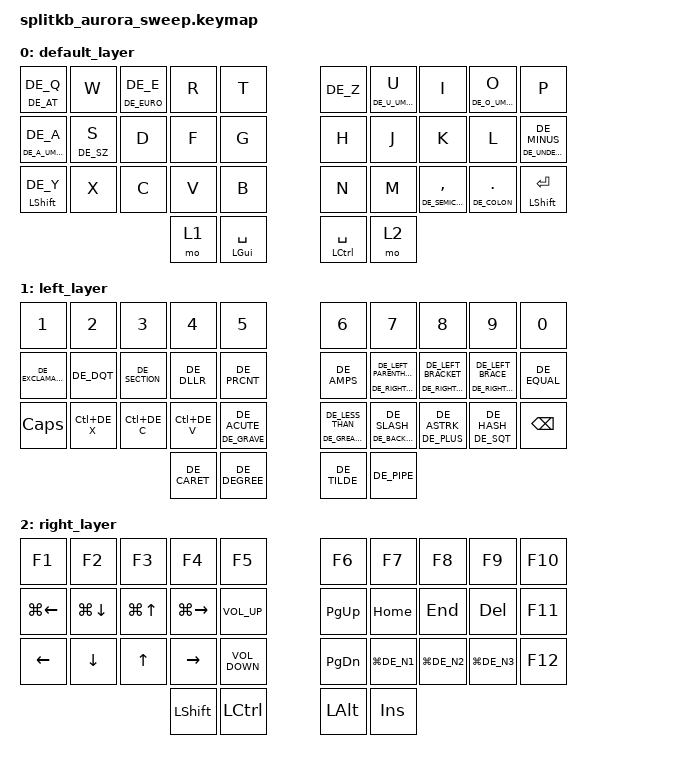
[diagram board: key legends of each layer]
/*
 * Copyright (c) 2022 The ZMK Contributors
 *
 * SPDX-License-Identifier: MIT
 */

#include "keys_de.h"
#include <behaviors.dtsi>
#include <dt-bindings/zmk/keys.h>

&mt {
    //  flavor = "tap-preferred";
    // tapping-term-ms = <200>;
};

/ {
    combos {
        compatible = "zmk,combos";

        combo_esc {
            timeout-ms = <50>;
            key-positions = <0 1>;
            bindings = <&kp ESC>;
        };

        combo_tab {
            timeout-ms = <50>;
            key-positions = <10 11>;
            bindings = <&kp TAB>;
        };

        combo_rgui {
            timeout-ms = <50>;
            key-positions = <17 16>;
            bindings = <&kp RIGHT_GUI>;
        };

        combo_lock {
            timeout-ms = <50>;
            key-positions = <11 12>;
            bindings = <&kp LG(DE_L)>;
        };

        combo_lgui {
            timeout-ms = <50>;
            key-positions = <12 13>;
            bindings = <&kp LGUI>;
        };

        combo_ralt {
            timeout-ms = <50>;
            key-positions = <17 18>;
            bindings = <&kp RIGHT_ALT>;
        };

        QuestionMark {
            bindings = <&kp DE_QMARK>;
            key-positions = <8 9>;
        };
    };

    keymap {
        compatible = "zmk,keymap";

        default_layer {
            bindings = <
&mt DE_AT DE_Q        &kp W               &mt DE_EURO DE_E  &kp R  &kp T    &kp DE_Z  &mt DE_U_UMLAUT U  &kp I                   &mt DE_O_UMLAUT O  &kp P
&mt DE_A_UMLAUT DE_A  &mt DE_SZ S         &kp D             &kp F  &kp G    &kp H     &kp J              &kp K                   &kp L              &mt DE_UNDERSCORE DE_MINUS
&mt LEFT_SHIFT DE_Y   &kp X               &kp C             &kp V  &kp B    &kp N     &kp M              &mt DE_SEMICOLON COMMA  &mt DE_COLON DOT   &mt LSHFT RET
&mo 1                 &mt LEFT_GUI SPACE                                                                                         &mt LCTRL SPACE    &mo 2
            >;
        };

        left_layer {
            bindings = <
&kp N1              &kp N2         &kp N3          &kp N4        &kp N5                   &kp N6                            &kp N7                                        &kp N8                                &kp N9                            &kp N0
&kp DE_EXCLAMATION  &kp DE_DQT     &kp DE_SECTION  &kp DE_DLLR   &kp DE_PRCNT             &kp DE_AMPS                       &mt DE_RIGHT_PARENTHESIS DE_LEFT_PARENTHESIS  &mt DE_RIGHT_BRACKET DE_LEFT_BRACKET  &mt DE_RIGHT_BRACE DE_LEFT_BRACE  &kp DE_EQUAL
&kp CAPSLOCK        &kp LC(DE_X)   &kp LC(DE_C)    &kp LC(DE_V)  &mt DE_GRAVE DE_ACUTE    &mt DE_GREATER_THAN DE_LESS_THAN  &mt DE_BACKSLASH DE_SLASH                     &mt DE_PLUS DE_ASTRK                  &mt DE_SQT DE_HASH                &kp BSPC
&kp DE_CARET        &kp DE_DEGREE                                                                                                                                                                               &kp DE_TILDE                      &kp DE_PIPE
            >;
        };

        right_layer {
            bindings = <
&kp F1          &kp F2        &kp F3      &kp F4         &kp F5               &kp F6         &kp F7         &kp F8         &kp F9         &kp F10
&kp LG(LEFT)    &kp LG(DOWN)  &kp LG(UP)  &kp LG(RIGHT)  &kp C_VOLUME_UP      &kp PG_UP      &kp HOME       &kp END        &kp DELETE     &kp F11
&kp LEFT        &kp DOWN      &kp UP      &kp RIGHT      &kp C_VOLUME_DOWN    &kp PAGE_DOWN  &kp LG(DE_N1)  &kp LG(DE_N2)  &kp LG(DE_N3)  &kp F12
&kp LEFT_SHIFT  &kp LCTRL                                                                                                  &kp LEFT_ALT   &kp INSERT
            >;
        };
    };
};
